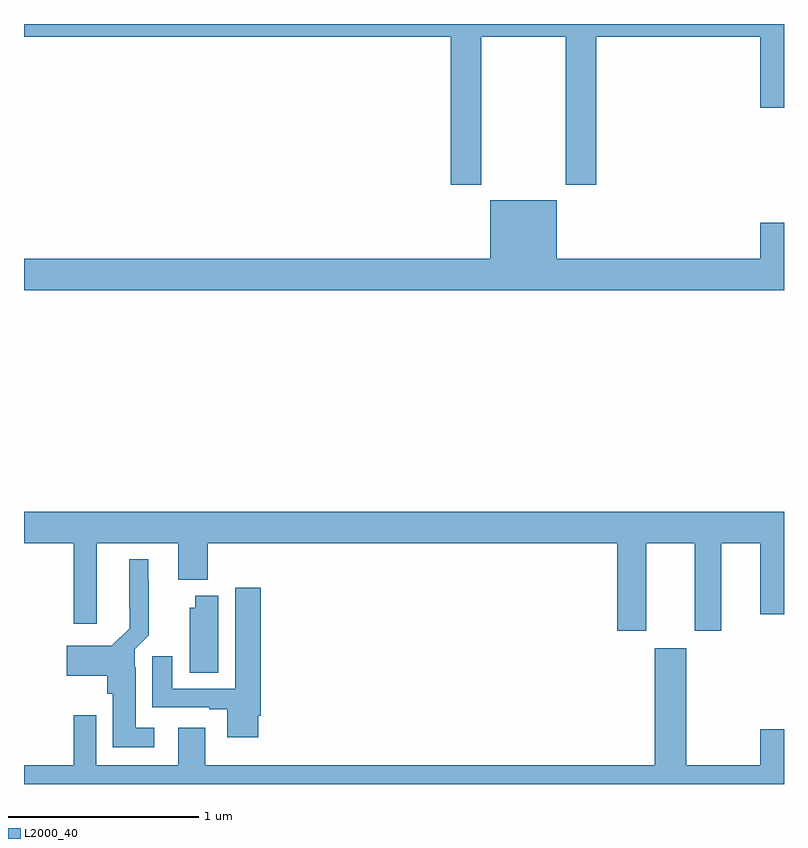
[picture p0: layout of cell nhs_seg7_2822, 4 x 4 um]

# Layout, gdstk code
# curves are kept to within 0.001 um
import gdstk
lib = gdstk.Library(unit=1e-6, precision=1e-09)
def P(c, l, *ps):  # polygons
    for p in ps: c.add(gdstk.Polygon(p, *l))
L2000_40 = (2000, 40)

nhs_seg7_2822 = lib.new_cell('nhs_seg7_2822')
P(nhs_seg7_2822, L2000_40, [(295.407,1017.932),(295.852,1017.932),(295.852,1017.153),(296.012,1017.153),(296.012,1017.932),(296.876,1017.932),(296.876,1017.558),(297,1017.558),(297,1018),(293,1018),(293,1017.932),(295.247,1017.932),(295.247,1017.153),(295.407,1017.153)],
  [(297,1016.953),(296.876,1016.953),(296.876,1016.764),(295.804,1016.764),(295.804,1017.073),(295.454,1017.073),(295.454,1016.764),(293,1016.764),(293,1016.6),(297,1016.6)],
  [(296.275,1015.268),(296.531,1015.268),(296.531,1014.807),(296.671,1014.807),(296.671,1015.268),(296.876,1015.268),(296.876,1014.894),(297,1014.894),(297,1015.432),(293,1015.432),(293,1015.268),(293.261,1015.268),(293.261,1014.843),(293.383,1014.843),(293.383,1015.268),(293.813,1015.268),(293.813,1015.076),(293.966,1015.076),(293.966,1015.268),(296.123,1015.268),(296.123,1014.807),(296.275,1014.807)],
  [(293.686,1014.295),(293.587,1014.295),(293.587,1014.614),(293.583,1014.614),(293.583,1014.708),(293.657,1014.782),(293.657,1015.073),(293.653,1015.073),(293.653,1015.183),(293.555,1015.183),(293.556,1014.82),(293.463,1014.727),(293.226,1014.727),(293.226,1014.569),(293.438,1014.569),(293.438,1014.474),(293.468,1014.474),(293.468,1014.194),(293.686,1014.194)],
  [(294.232,1014.358),(294.245,1014.358),(294.245,1015.033),(294.113,1015.033),(294.113,1014.501),(293.779,1014.501),(293.779,1014.673),(293.675,1014.673),(293.675,1014.405),(293.975,1014.405),(293.975,1014.393),(294.071,1014.393),(294.071,1014.246),(294.232,1014.246)],
  [(294.022,1014.991),(293.9,1014.991),(293.9,1014.927),(293.873,1014.927),(293.873,1014.586),(294.022,1014.586)],
  [(297,1014.289),(296.876,1014.289),(296.876,1014.1),(296.485,1014.1),(296.485,1014.715),(296.321,1014.715),(296.321,1014.1),(293.953,1014.1),(293.953,1014.295),(293.813,1014.295),(293.813,1014.1),(293.379,1014.1),(293.379,1014.361),(293.263,1014.361),(293.263,1014.1),(293,1014.1),(293,1014),(297,1014)])

lib.write_gds('nhs_seg7_2822.gds')
